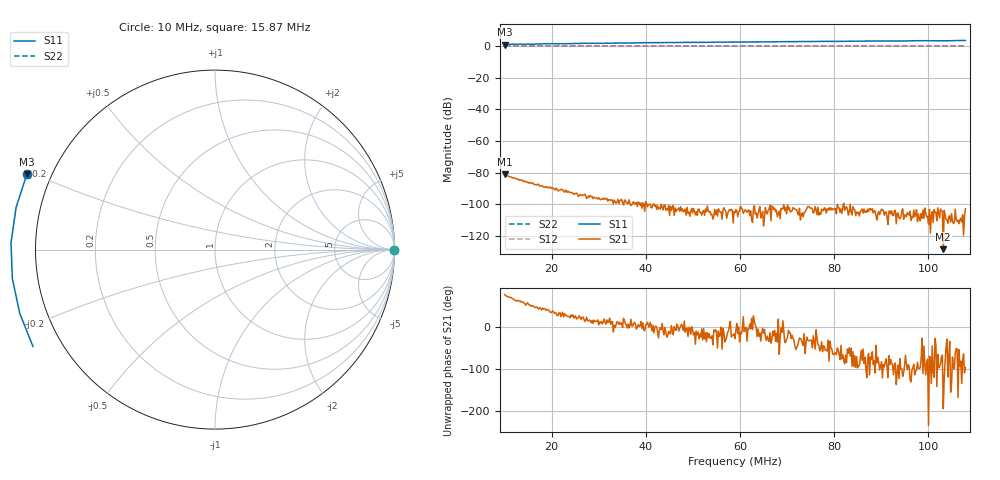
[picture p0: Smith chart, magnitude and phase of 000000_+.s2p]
! Anritsu VNA Master:  Model: MS2036C/10/77
! SN:  1601066
! /card0/usr/000000_+.s2p
! Existing Calibration Information:
! TYPE:  Current Settings,  Active Cal Settings
! TIME:  12/17/2017 08:14:34 PM,  12/17/2017 06:38:14 PM
! INTERNAL TEMP:  39.3 C,  43.8 C
! # POINTS:  501,  501
! START FREQ:  10.000 MHz,  10.000 MHz
! STOP FREQ:  107.903 125 MHz,  107.903 125 MHz
! SOURCE POWER:  High,  High
! IFBW:  100 Hz,  100 Hz
! AVG FACTOR:  1 ,  1
! REF PLANE 1:  0 mm,  0 mm
! REF PLANE 2:  0 mm,  0 mm
! CAL TYPE:  Full S11,  Full S11
! CAL METHOD:  SOLT,  SOLT
! CAL LINE TYPE:  Coax,  Coax
! DUT PORT 1:  N-Conn(F),  N-Conn(F)
! DUT PORT 2:  K-Conn(F),  K-Conn(F)
! CAL STATUS:  OK: Accuracy High,  --
# GHZ S DB R 50.0
! FREQ.GHZ  S11DB  S11A  S21DB  S21A  S12DB  S12A  S22DB  S22A
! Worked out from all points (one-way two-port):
!   501 points, 10 MHz to 107.9 MHz, reference 50 ohm
!   highest |S21| = -81.07 dB at 10 MHz (marker M1); lowest = -128.3 dB at 103.2 MHz (marker M2)
!   lowest |S11| = 1.1 dB at 10 MHz (marker M3)
!   |S11| at or under -10 dB: nowhere
!   |S22| runs from 0.0 to 0.0 dB; largest |S21 - S12| = 1
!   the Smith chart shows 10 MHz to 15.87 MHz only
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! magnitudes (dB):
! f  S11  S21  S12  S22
! 10 MHz  1.1  -81.1  0.0  0.0
! 12.35 MHz  1.3  -83.6  0.0  0.0
! 15.87 MHz  1.3  -86.3  0.0  0.0
! 19.01 MHz  1.6  -89.2  0.0  0.0
! 22.73 MHz  1.5  -92.3  0.0  0.0
! 26.45 MHz  1.8  -94.5  0.0  0.0
! 30.17 MHz  1.8  -96.4  0.0  0.0
! 33.11 MHz  2.1  -99.7  0.0  0.0
! 37.02 MHz  2.0  -100.3  0.0  0.0
! 40.55 MHz  2.2  -100.2  0.0  0.0
! 42.7 MHz  2.2  -102.8  0.0  0.0
! 47.79 MHz  2.4  -102.8  0.0  0.0
! 59.15 MHz  2.5  -103.3  0.0  0.0
! 75.4 MHz  3.0  -103.1  0.0  0.0
! 79.9 MHz  3.0  -103.2  0.0  0.0
! 83.62 MHz  3.2  -104.8  0.0  0.0
! 86.76 MHz  3.1  -104.2  0.0  0.0
! 91.65 MHz  3.3  -104.4  0.0  0.0
! 94 MHz  3.3  -109.0  0.0  0.0
! 98.31 MHz  3.5  -110.4  0.0  0.0
! 103.2 MHz  3.4  -128.3  0.0  0.0
! 107.9 MHz  3.6  -102.7  0.0  0.0
